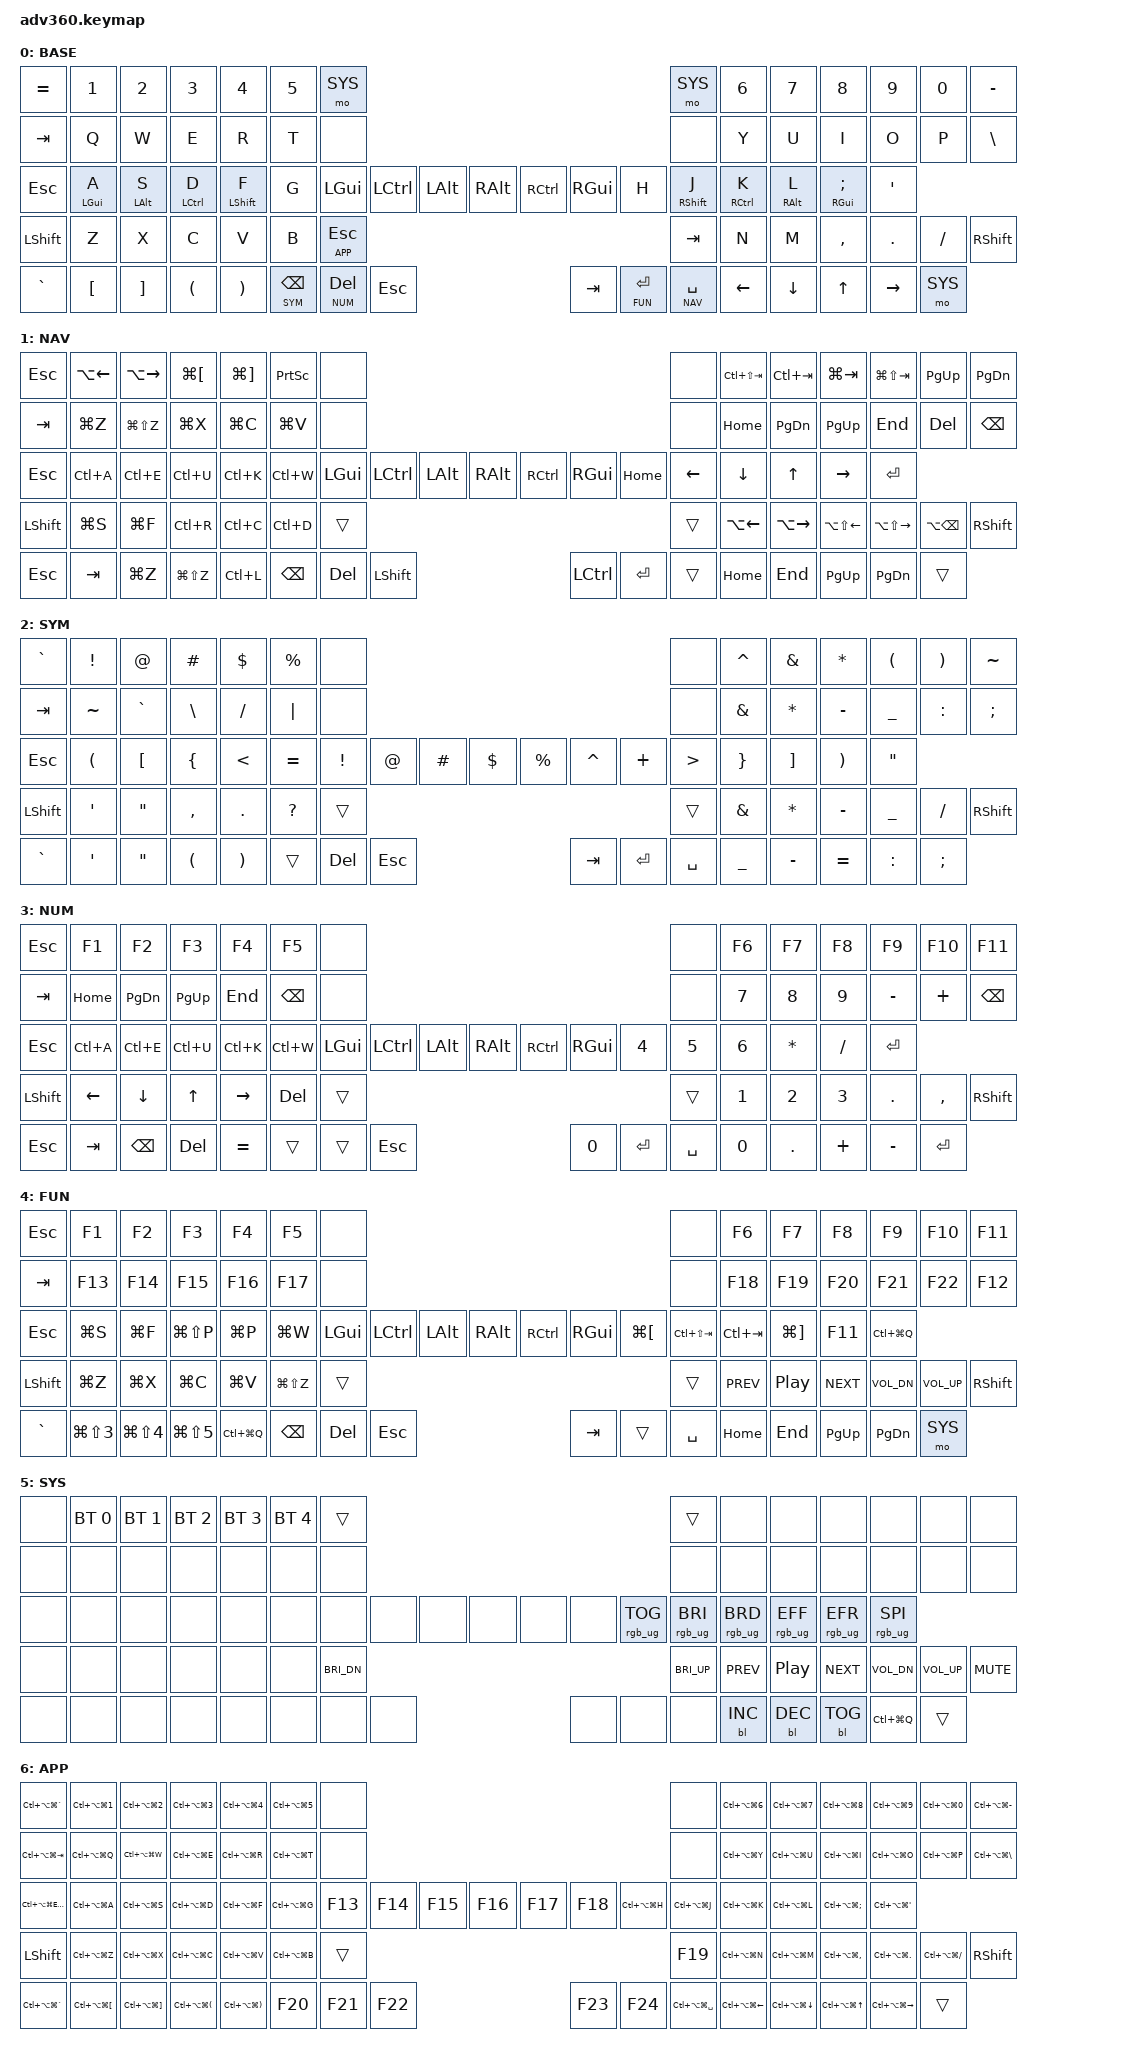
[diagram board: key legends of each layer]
/*
 * Kinesis Advantage360 Pro / ZMK keymap
 * Production ergonomic developer layout — macOS-primary, Linux/Windows secondary.
 *
 * Layer order:
 *   0 BASE
 *   1 NAV
 *   2 SYM
 *   3 NUM
 *   4 FUN
 *   5 SYS
 *   6 APP
 *
 * Compatibility notes (Kinesis adv360pro-zmk fork, V3.0 / current master):
 *   - Uses only widely-supported hold-tap properties:
 *       compatible, label, #binding-cells, flavor,
 *       tapping-term-ms, quick-tap-ms, bindings, hold-trigger-key-positions.
 *     The newer upstream-only properties `require-prior-idle-ms` and
 *     `hold-trigger-on-release` were intentionally dropped to guarantee a
 *     clean build on the Kinesis fork. If your fork pin includes them, they
 *     can be re-added under each hold-tap node — see the OPTIONAL block.
 *
 *   - macOS-first key bindings on NAV/FUN: clipboard / save / find / app-switch
 *     use Cmd (LG(...)). Bash/readline shortcuts (LC(A/E/U/K/W)) work in any
 *     terminal regardless of OS. Windows users should add a per-OS layer.
 *
 *   - Dangerous actions are protected:
 *       * &bootloader is exposed only via a SYS-only inner-key combo.
 *       * &bt BT_CLR is exposed only via the SYS-only combo (BT_SEL 0 + BT_SEL 1).
 *
 * Matrix layout (per layer, 76 keys total):
 *   row1  6 + 1L-thumb-row + 1R-thumb-row + 6     = 14   pos  0..13
 *   row2  6 + 1 inner       + 1 inner        + 6  = 14   pos 14..27
 *   row3  6 + 3 thumb cluster + 3 thumb cluster + 6 = 18  pos 28..45
 *   row4  6 + 1L-thumb       + 1R-thumb       + 6 = 14   pos 46..59
 *   row5  5 + 3L-thumbs      + 3R-thumbs      + 5 = 16   pos 60..75
 */

#include <behaviors.dtsi>
#include <dt-bindings/zmk/backlight.h>
#include <dt-bindings/zmk/bt.h>
#include <dt-bindings/zmk/keys.h>
#include <dt-bindings/zmk/rgb.h>

#define BASE 0
#define NAV  1
#define SYM  2
#define NUM  3
#define FUN  4
#define SYS  5
#define APP  6

/ {
    behaviors {
        /*
         * Positional home-row mods.
         *
         * hml = left-hand home-row mod. Only triggers as a modifier when paired
         * with a key on the opposite hand. hmr is the mirror image. This nearly
         * eliminates accidental same-hand rolls such as "as", "sd", "jk", "kl".
         *
         * Order on each home row (pinky -> index): GUI, ALT, CTRL, SHIFT.
         * On macOS this puts Cmd on the pinky (heaviest mod on weakest finger),
         * which is intentional: positional triggers force cross-hand for any
         * Cmd+letter combo anyway, so the load is shifted to the other hand.
         *
         * OPTIONAL (newer ZMK only) — to reduce HRM misfires further, add:
         *     require-prior-idle-ms = <125>;
         *     hold-trigger-on-release;
         */
        hml: home_row_mod_left {
            compatible = "zmk,behavior-hold-tap";
            label = "HRM_LEFT";
            #binding-cells = <2>;
            flavor = "balanced";
            tapping-term-ms = <220>;
            quick-tap-ms = <175>;
            bindings = <&kp>, <&kp>;
            hold-trigger-key-positions = <
                8 9 10 11 12 13
                22 23 24 25 26 27
                37 38 39 40 41 42 43 44 45
                53 54 55 56 57 58 59
                68 69 70 71 72 73 74 75
            >;
        };

        hmr: home_row_mod_right {
            compatible = "zmk,behavior-hold-tap";
            label = "HRM_RIGHT";
            #binding-cells = <2>;
            flavor = "balanced";
            tapping-term-ms = <220>;
            quick-tap-ms = <175>;
            bindings = <&kp>, <&kp>;
            hold-trigger-key-positions = <
                0 1 2 3 4 5 6
                14 15 16 17 18 19 20
                28 29 30 31 32 33 34 35 36
                46 47 48 49 50 51 52
                60 61 62 63 64 65 66 67
            >;
        };

        /*
         * Balanced thumb layer-tap.
         * Hold for the layer; tap for the keycode. tapping-term-ms raised to 200
         * to reduce misfires on fast Space/Backspace/Enter rolls in shells/IDEs.
         */
        tlt: thumb_layer_tap {
            compatible = "zmk,behavior-hold-tap";
            label = "THUMB_LAYER_TAP";
            #binding-cells = <2>;
            flavor = "balanced";
            tapping-term-ms = <200>;
            quick-tap-ms = <200>;
            bindings = <&mo>, <&kp>;
        };
    };

    combos {
        compatible = "zmk,combos";

        /*
         * Clear ONLY the currently selected Bluetooth profile.
         * Gated to SYS layer; both BT_SEL 0 + BT_SEL 1 positions must be pressed
         * together. Will not trigger on any other layer.
         */
        combo_bt_clear {
            timeout-ms = <120>;
            key-positions = <1 2>;
            layers = <SYS>;
            bindings = <&bt BT_CLR>;
        };

        /*
         * Enter bootloader only from SYS, and only by pressing the two inner
         * row-2 keys together. This keeps firmware mode reachable but prevents
         * a single accidental key press from dropping the board into bootloader.
         */
        combo_bootloader {
            timeout-ms = <200>;
            key-positions = <20 21>;
            layers = <SYS>;
            bindings = <&bootloader>;
        };
    };

    keymap {
        compatible = "zmk,keymap";

        // =========================================================
        // LAYER 0: BASE
        // QWERTY with positional home-row mods. SYS reachable from three
        // places (top corners + far bottom-right) so it's always nearby
        // without conflicting with main typing.
        // =========================================================

        default_layer {
            display-name = "BASE";
            bindings = <
&kp EQUAL  &kp N1      &kp N2      &kp N3       &kp N4       &kp N5     &mo SYS                                                                            &mo SYS           &kp N6    &kp N7       &kp N8       &kp N9       &kp N0       &kp MINUS
&kp TAB    &kp Q       &kp W       &kp E        &kp R        &kp T      &none                                                                              &none             &kp Y     &kp U        &kp I        &kp O        &kp P        &kp BSLH
&kp ESC    &hml LGUI A &hml LALT S &hml LCTRL D &hml LSHFT F &kp G      &kp LGUI       &kp LCTRL     &kp LALT        &kp RALT   &kp RCTRL  &kp RGUI      &kp H     &hmr RSHFT J &hmr RCTRL K &hmr RALT L  &hmr RGUI SEMI &kp SQT
&kp LSHFT  &kp Z       &kp X       &kp C        &kp V        &kp B                                      &tlt APP ESC      &kp TAB                                               &kp N     &kp M        &kp COMMA    &kp DOT      &kp FSLH     &kp RSHFT
&kp GRAVE  &kp LBKT    &kp RBKT    &kp LPAR     &kp RPAR                 &tlt SYM BSPC   &tlt NUM DEL  &kp ESC         &kp TAB    &tlt FUN ENTER &tlt NAV SPACE                    &kp LEFT  &kp DOWN     &kp UP       &kp RIGHT    &mo SYS
            >;
        };

        // =========================================================
        // LAYER 1: NAV  (hold right-thumb Space)
        // macOS-tuned. Arrows on J/K/L/; (NOT H/J/K/L) — index stays on home,
        // matching Kinesis ergonomics where reaching to H is an inward stretch.
        //   J = LEFT   K = DOWN   L = UP   ; = RIGHT
        //   H = HOME   ' = ENTER
        // Left hand: mac clipboard/undo (Cmd) + bash/readline controls (Ctrl).
        // =========================================================

        layer_nav {
            display-name = "NAV";
            bindings = <
&kp ESC    &kp LA(LEFT)       &kp LA(RIGHT)       &kp LG(LBKT)       &kp LG(RBKT)        &kp PSCRN        &none                                                                         &none       &kp LC(LS(TAB)) &kp LC(TAB)    &kp LG(TAB)      &kp LG(LS(TAB)) &kp PG_UP      &kp PG_DN
&kp TAB    &kp LG(Z)          &kp LG(LS(Z))       &kp LG(X)          &kp LG(C)           &kp LG(V)        &none                                                                         &none       &kp HOME        &kp PG_DN      &kp PG_UP        &kp END         &kp DEL        &kp BSPC
&kp ESC    &kp LC(A)          &kp LC(E)           &kp LC(U)          &kp LC(K)           &kp LC(W)        &kp LGUI       &kp LCTRL      &kp LALT        &kp RALT     &kp RCTRL    &kp RGUI       &kp HOME  &kp LEFT      &kp DOWN     &kp UP        &kp RIGHT      &kp ENTER
&kp LSHFT  &kp LG(S)          &kp LG(F)           &kp LC(R)          &kp LC(C)           &kp LC(D)                                        &trans           &trans                                              &kp LA(LEFT) &kp LA(RIGHT) &kp LA(LS(LEFT)) &kp LA(LS(RIGHT)) &kp LA(BSPC) &kp RSHFT
&kp ESC    &kp TAB            &kp LG(Z)           &kp LG(LS(Z))      &kp LC(L)                           &kp BSPC       &kp DEL       &kp LSHFT       &kp LCTRL     &kp ENTER      &trans                            &kp HOME  &kp END       &kp PG_UP    &kp PG_DN     &trans
            >;
        };

        // =========================================================
        // LAYER 2: SYM  (hold left-thumb Backspace)
        // Opening delimiters on left, closing delimiters on right.
        // =========================================================

        layer_sym {
            display-name = "SYM";
            bindings = <
&kp GRAVE  &kp EXCL  &kp AT    &kp HASH  &kp DLLR  &kp PRCNT  &none                                                                          &none       &kp CARET  &kp AMPS  &kp STAR  &kp LPAR   &kp RPAR   &kp TILDE
&kp TAB    &kp TILDE &kp GRAVE &kp BSLH  &kp FSLH  &kp PIPE   &none                                                                          &none       &kp AMPS   &kp STAR  &kp MINUS &kp UNDER  &kp COLON  &kp SEMI
&kp ESC    &kp LPAR  &kp LBKT  &kp LBRC  &kp LT    &kp EQUAL  &kp EXCL      &kp AT        &kp HASH       &kp DLLR   &kp PRCNT  &kp CARET    &kp PLUS &kp GT    &kp RBRC  &kp RBKT   &kp RPAR   &kp DQT
&kp LSHFT  &kp SQT   &kp DQT   &kp COMMA &kp DOT   &kp QMARK                               &trans          &trans                                          &kp AMPS  &kp STAR  &kp MINUS &kp UNDER  &kp FSLH   &kp RSHFT
&kp GRAVE  &kp SQT   &kp DQT   &kp LPAR  &kp RPAR                         &trans       &kp DEL       &kp ESC        &kp TAB    &kp ENTER  &kp SPACE                         &kp UNDER &kp MINUS &kp EQUAL &kp COLON  &kp SEMI
            >;
        };

        // =========================================================
        // LAYER 3: NUM  (hold left-thumb Delete)
        // Right-hand numpad; left side keeps navigation + readline.
        // =========================================================

        layer_num {
            display-name = "NUM";
            bindings = <
&kp ESC    &kp F1    &kp F2    &kp F3       &kp F4       &kp F5     &none                                                                          &none      &kp F6    &kp F7    &kp F8    &kp F9     &kp F10   &kp F11
&kp TAB    &kp HOME  &kp PG_DN &kp PG_UP    &kp END      &kp BSPC   &none                                                                          &none      &kp N7    &kp N8    &kp N9    &kp MINUS  &kp PLUS  &kp BSPC
&kp ESC    &kp LC(A) &kp LC(E) &kp LC(U)    &kp LC(K)    &kp LC(W)  &kp LGUI      &kp LCTRL     &kp LALT       &kp RALT  &kp RCTRL &kp RGUI     &kp N4  &kp N5    &kp N6    &kp STAR   &kp FSLH  &kp ENTER
&kp LSHFT  &kp LEFT  &kp DOWN  &kp UP       &kp RIGHT    &kp DEL                                  &trans          &trans                                         &kp N1    &kp N2    &kp N3    &kp DOT    &kp COMMA  &kp RSHFT
&kp ESC    &kp TAB   &kp BSPC  &kp DEL      &kp EQUAL                           &trans       &trans       &kp ESC        &kp N0    &kp ENTER  &kp SPACE                        &kp N0    &kp DOT   &kp PLUS  &kp MINUS  &kp ENTER
            >;
        };

        // =========================================================
        // LAYER 4: FUN  (hold right-thumb Enter)
        // F-keys, IDE/browser commands, macOS screenshots, lock.
        //   row 5 left: ` Cmd+Shift+3 Cmd+Shift+4 Cmd+Shift+5 Cmd+Ctrl+Q (lock)
        // Windows alts (set on host or via per-OS layer):
        //   screenshot: LG(LS(S))   lock: LG(L)
        // =========================================================

        layer_fun {
            display-name = "FUN";
            bindings = <
&kp ESC    &kp F1       &kp F2       &kp F3          &kp F4          &kp F5       &none                                                                          &none        &kp F6          &kp F7        &kp F8       &kp F9       &kp F10      &kp F11
&kp TAB    &kp F13      &kp F14      &kp F15         &kp F16         &kp F17      &none                                                                          &none        &kp F18         &kp F19       &kp F20      &kp F21      &kp F22      &kp F12
&kp ESC    &kp LG(S)    &kp LG(F)    &kp LG(LS(P))   &kp LG(P)       &kp LG(W)    &kp LGUI      &kp LCTRL     &kp LALT       &kp RALT    &kp RCTRL  &kp RGUI      &kp LG(LBKT) &kp LC(LS(TAB)) &kp LC(TAB) &kp LG(RBKT)  &kp F11   &kp LC(LG(Q))
&kp LSHFT  &kp LG(Z)    &kp LG(X)    &kp LG(C)       &kp LG(V)       &kp LG(LS(Z))                            &trans          &trans                                            &kp C_PREV  &kp C_PP      &kp C_NEXT   &kp C_VOL_DN &kp C_VOL_UP &kp RSHFT
&kp GRAVE  &kp LG(LS(N3)) &kp LG(LS(N4)) &kp LG(LS(N5)) &kp LC(LG(Q))                         &kp BSPC      &kp DEL       &kp ESC        &kp TAB     &trans       &kp SPACE                         &kp HOME    &kp END      &kp PG_UP    &kp PG_DN    &mo SYS
            >;
        };

        // =========================================================
        // LAYER 5: SYS
        // Bluetooth profiles, RGB, backlight, media, firmware.
        // BT_CLR and bootloader are intentionally NOT bound directly; use the
        // SYS-only combos above for destructive/system actions.
        // RGB controls realigned to the right main 6 keys (under Y/U/I/O/P/\).
        // =========================================================

        layer_sys {
            display-name = "SYS";
            bindings = <
&none      &bt BT_SEL 0 &bt BT_SEL 1 &bt BT_SEL 2 &bt BT_SEL 3 &bt BT_SEL 4 &trans                                                                        &trans       &none           &none           &none           &none           &none           &none
&none      &none        &none        &none        &none        &none        &none                                                                         &none        &none           &none           &none           &none           &none           &none
&none      &none        &none        &none        &none        &none        &none        &none        &none        &none       &none      &none           &rgb_ug RGB_TOG &rgb_ug RGB_BRI &rgb_ug RGB_BRD &rgb_ug RGB_EFF &rgb_ug RGB_EFR &rgb_ug RGB_SPI
&none      &none        &none        &none        &none        &none                                      &kp C_BRI_DN     &kp C_BRI_UP                                     &kp C_PREV  &kp C_PP    &kp C_NEXT  &kp C_VOL_DN &kp C_VOL_UP &kp C_MUTE
&none      &none        &none        &none        &none                              &none        &none        &none        &none       &none       &none                            &bl BL_INC  &bl BL_DEC   &bl BL_TOG   &kp LC(LG(Q)) &trans
            >;
        };

        // =========================================================
        // LAYER 6: APP  (hold left thumb-cluster Esc)
        // Host-defined app/window-manager shortcuts, Ctrl+Alt+Gui+<key>.
        // Bind these in Hammerspoon / Karabiner / GlazeWM / AutoHotkey, etc.
        // =========================================================

        layer_app {
            display-name = "APP";
            bindings = <
&kp LC(LA(LG(GRAVE))) &kp LC(LA(LG(N1))) &kp LC(LA(LG(N2))) &kp LC(LA(LG(N3))) &kp LC(LA(LG(N4))) &kp LC(LA(LG(N5))) &none                                                               &none                 &kp LC(LA(LG(N6))) &kp LC(LA(LG(N7))) &kp LC(LA(LG(N8))) &kp LC(LA(LG(N9))) &kp LC(LA(LG(N0))) &kp LC(LA(LG(MINUS)))
&kp LC(LA(LG(TAB)))   &kp LC(LA(LG(Q)))  &kp LC(LA(LG(W)))  &kp LC(LA(LG(E)))  &kp LC(LA(LG(R)))  &kp LC(LA(LG(T)))  &none                                                               &none                 &kp LC(LA(LG(Y)))  &kp LC(LA(LG(U)))  &kp LC(LA(LG(I)))  &kp LC(LA(LG(O)))  &kp LC(LA(LG(P)))  &kp LC(LA(LG(BSLH)))
&kp LC(LA(LG(ESC)))   &kp LC(LA(LG(A)))  &kp LC(LA(LG(S)))  &kp LC(LA(LG(D)))  &kp LC(LA(LG(F)))  &kp LC(LA(LG(G)))  &kp F13       &kp F14       &kp F15       &kp F16     &kp F17   &kp F18       &kp LC(LA(LG(H))) &kp LC(LA(LG(J))) &kp LC(LA(LG(K))) &kp LC(LA(LG(L))) &kp LC(LA(LG(SEMI))) &kp LC(LA(LG(SQT)))
&kp LSHFT             &kp LC(LA(LG(Z)))  &kp LC(LA(LG(X)))  &kp LC(LA(LG(C)))  &kp LC(LA(LG(V)))  &kp LC(LA(LG(B)))                               &trans       &kp F19                                                  &kp LC(LA(LG(N))) &kp LC(LA(LG(M))) &kp LC(LA(LG(COMMA))) &kp LC(LA(LG(DOT))) &kp LC(LA(LG(FSLH))) &kp RSHFT
&kp LC(LA(LG(GRAVE))) &kp LC(LA(LG(LBKT))) &kp LC(LA(LG(RBKT))) &kp LC(LA(LG(LPAR))) &kp LC(LA(LG(RPAR)))              &kp F20       &kp F21       &kp F22       &kp F23     &kp F24       &kp LC(LA(LG(SPACE)))           &kp LC(LA(LG(LEFT))) &kp LC(LA(LG(DOWN))) &kp LC(LA(LG(UP))) &kp LC(LA(LG(RIGHT))) &trans
            >;
        };
    };
};
